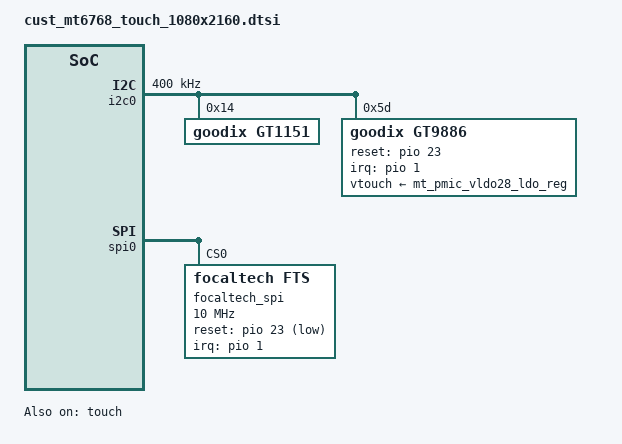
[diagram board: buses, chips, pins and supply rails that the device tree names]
// SPDX-License-Identifier: GPL-2.0+
/*
 * Copyright (c) 2019 MediaTek Inc.
 *
 */

/* TOUCH start */
&i2c0 {
	clock-frequency = <400000>;
	pinctrl-names = "default", "ts_int_active",
		"ts_reset_active", "ts_int_suspend",
		"ts_reset_suspend", "ts_i2c_mode",
		"ts_eint_high";
	pinctrl-0 = <&ctp_pins_default>;
	pinctrl-1 = <&ctp_ts_int_active>;
	pinctrl-2 = <&ctp_ts_reset_active>;
	pinctrl-3 = <&ctp_ts_int_suspend>;
	pinctrl-4 = <&ctp_ts_reset_suspend>;
	pinctrl-5 = <&ctp_ts_i2c_mode>;
	pinctrl-6 = <&ctp_ts_int_as_gpio>;

	gt1151@14 {
		compatible = "goodix,gt1151";
		reg = <0x14>;
		status = "okay";
	};

	gt9886@5d {
		compatible = "goodix,gt9886";
		reg = <0x5d>;
		status = "okay";
		interrupt-parent = <&pio>;
		interrupts = <1 IRQ_TYPE_EDGE_FALLING 1 0>;
		vtouch-supply = <&mt_pmic_vldo28_ldo_reg>;
		goodix,reset-gpio = <&pio 23 0x0>;
		goodix,irq-gpio = <&pio 1 0x0>;
		goodix,irq-flags = <2>; /* 1:rising, 2:falling;*/
		goodix,panel-max-id = <10>;
		goodix,panel-max-x = <1080>;
		goodix,panel-max-y = <2160>;
		goodix,panel-max-w = <256>;
		goodix,panel-max-p = <256>;
		goodix,input-max-x = <1080>;
		goodix,input-max-y = <2160>;
		goodix,panel-key-map = <158 172 217>; /*BACK,HOMEPAGE,SEARCH*/
		goodix,power-on-delay-us = <10000>; /*10ms*/
		goodix,power-off-delay-us = <5000>;
		goodix,firmware-version = "6785ae";
		goodix,config-version = "6785v99";
		/*goodix,swap-axis;*/
		/*goodix,x2x;*/
		/*goodix,y2y;*/
		goodix,pen-enable;
		goodix,key-of-pen = <331 332>;/*BTN_STYLUS, BTN_STYLUS2*/
		tpd-filter-enable = <0>;
		tpd-filter-pixel-density = <161>;
		tpd-filter-custom-prameters = <0 0 0 0 0 0 0 0 0 0 0 0>;
		tpd-filter-custom-speed = <0 0 0>;
	};

};


&spi0 {
	focaltech_spi@0 {
		compatible = "focaltech,fts";
		reg = <0x0>;
		spi-max-frequency = <10000000>;
		interrupt-parent = <&pio>;
		//interrupts = <13 0x2>;
		interrupts = <1 IRQ_TYPE_EDGE_FALLING 1 0>;
		focaltech,reset-gpio = <&pio 23 0x01>; 
		focaltech,irq-gpio = <&pio 1 0x02>; 	
		focaltech,max-touch-number = <10>;			
		focaltech,display-coords =  <0 0 1080 2460>;
		
		pinctrl-names = "pmx_ts_active","pmx_ts_suspend";//,"pmx_ts_release";
		pinctrl-0 = <&ctp_ts_int_active &ctp_ts_reset_active>;
		pinctrl-1 = <&ctp_ts_int_suspend &ctp_ts_reset_suspend>;
		status = "okay";

	};
};

&touch {
	tpd-resolution = <1080 2160>;
	lcm-resolution = <1080 2160>;
	tpd-cfg-version = "config19";
	tpd-max-touch-num = <10>;
	interrupt-parent = <&pio>;
	interrupts = <1 IRQ_TYPE_EDGE_FALLING 1 0>;
	goodix,eint-gpio = <&pio 1 0x0>;
	goodix,reset-gpio = <&pio 23 0x0>;
	vtouch-supply = <&mt_pmic_vldo28_ldo_reg>;

	/* Rotate cord when open blew lables */
	/*goodix,x2x;*/
	/*goodix,y2y;*/

	tpd-filter-enable = <0>;
	tpd-filter-pixel-density = <168>;
	tpd-filter-custom-prameters = <0 0 0 0 0 0 0 0 0 0 0 0>;
	tpd-filter-custom-speed = <0 0 0>;
	
	pinctrl-names = "default", "state_eint_as_int", "state_eint_output0",
		"state_eint_output1", "state_rst_output0", "state_rst_output1";
	pinctrl-0 = <&ctp_pins_default_t>;
	pinctrl-1 = <&ctp_pins_eint_as_int>;
	pinctrl-2 = <&ctp_pins_eint_output0>;
	pinctrl-3 = <&ctp_pins_eint_output1>;
	pinctrl-4 = <&ctp_pins_rst_output0>;
	pinctrl-5 = <&ctp_pins_rst_output1>;
	status = "okay";
};
&pio {
	ctp_pins_default_t: eint0default {
	};
	ctp_pins_eint_as_int: eint@0 {
		pins_cmd_dat {
			pinmux = <PINMUX_GPIO0__FUNC_GPIO0>;
			slew-rate = <0>;
			bias-disable;
		};
	};
	ctp_pins_eint_output0: eintoutput0 {
		pins_cmd_dat {
			pinmux = <PINMUX_GPIO1__FUNC_GPIO1>;
			slew-rate = <1>;
			output-low;
		};
	};
	ctp_pins_eint_output1: eintoutput1 {
		pins_cmd_dat {
			pinmux = <PINMUX_GPIO1__FUNC_GPIO1>;
			slew-rate = <1>;
			output-high;
		};
	};
	ctp_pins_rst_output0: rstoutput0 {
		pins_cmd_dat {
			pinmux = <PINMUX_GPIO23__FUNC_GPIO23>;
			slew-rate = <1>;
			output-low;
		};
	};
	ctp_pins_rst_output1: rstoutput1 {
		pins_cmd_dat {
			pinmux = <PINMUX_GPIO23__FUNC_GPIO23>;
			slew-rate = <1>;
			output-high;
		};
	};
};

&pio {
	ctp_pins_default: eintdefault {
	};
	ctp_ts_int_active: int_active {
		pins_cmd_dat {
			pinmux = <PINMUX_GPIO1__FUNC_GPIO1>;
			input-enable;
			bias-pill-up = <MTK_PUPD_SET_R1R0_11>;
		};
	};
	ctp_ts_reset_active: reset_active {
		pins_cmd_dat {
			pinmux = <PINMUX_GPIO23__FUNC_GPIO23>;
			slew-rate = <1>;
			output-high;
		};
	};
	ctp_ts_int_suspend: int_suspend {
		pins_cmd_dat {
			pinmux = <PINMUX_GPIO1__FUNC_GPIO1>;
			slew-rate = <1>;
			output-low;
		};
	};
	ctp_ts_reset_suspend: reset_suspend {
		pins_cmd_dat {
			pinmux = <PINMUX_GPIO23__FUNC_GPIO23>;
			slew-rate = <1>;
			output-low;
		};
	};
	ctp_ts_i2c_mode: i2cmode_default {
		pins_cmd_dat {
			pinmux = <PINMUX_GPIO82__FUNC_SDA0>,
				<PINMUX_GPIO83__FUNC_SCL0>;
		};
	};
	ctp_ts_int_as_gpio: int_high {
		pins_cmd_dat {
			pinmux = <PINMUX_GPIO1__FUNC_GPIO1>;
			slew-rate = <1>;
			output-high;
		};
	};
};
/* TOUCH end */
